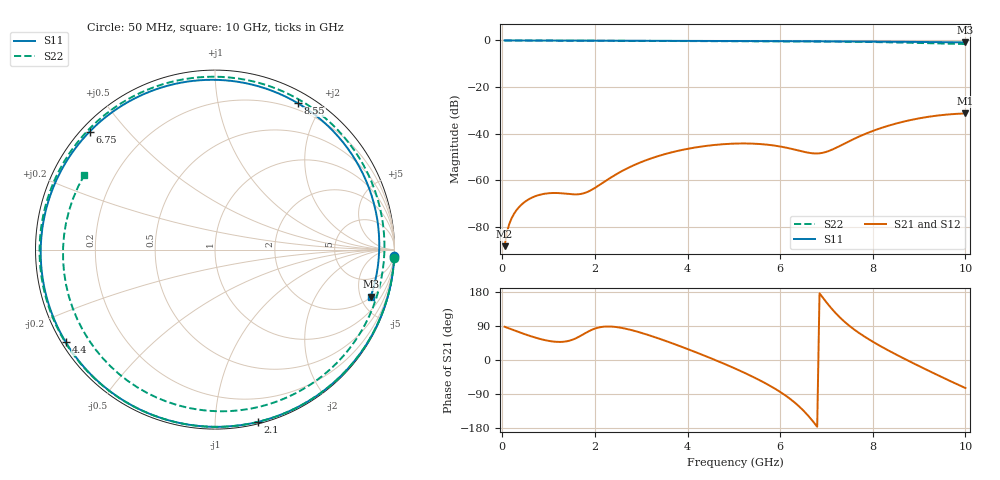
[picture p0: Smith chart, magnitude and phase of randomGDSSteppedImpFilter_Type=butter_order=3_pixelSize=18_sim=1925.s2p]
! freq	dB(S11)	phase(S11)	dB(S12)	phase(S12)
!  dB(S21)	phase(S21)	dB(S22)	phase(S22)
!S-par simulation data
#  GHz  S  DB  R 50
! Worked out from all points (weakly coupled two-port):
!   200 points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, 50 MHz to 10 GHz, reference 50 ohm
!   highest |S21| = -31.30 dB at 10 GHz (marker M1); lowest = -88.2 dB at 50 MHz (marker M2)
!   lowest |S11| = -0.9 dB at 10 GHz (marker M3), VSWR 20.41, Z = 103 - j304 ohm
!   |S11| at or under -10 dB: nowhere
!   |S22| runs from -1.5 to 0.0 dB; largest |S21 - S12| = 0
!   S11 on the Smith chart (normalised r, x): 50 MHz: 0, -60; 2.1 GHz: 0.01, -1.28; 4.4 GHz: 0.01, -0.29; 6.75 GHz: 0.02, +0.40; 8.55 GHz: 0.13, +1.71; 10 GHz: 2.07, -6.09
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0.05  -0.00 -1.9  -88.18 87.7  -88.18 87.7  -0.00 -2.8
0.35  -0.02 -13.2  -71.68 74.0  -71.68 74.0  -0.03 -19.5
0.65  -0.03 -24.5  -67.29 61.4  -67.29 61.4  -0.05 -35.9
1.2  -0.06 -44.7  -65.41 47.7  -65.41 47.7  -0.08 -65.0
1.75  -0.08 -64.2  -65.56 67.9  -65.56 67.9  -0.11 -92.3
2.1  -0.09 -76.1  -61.93 86.3  -61.93 86.3  -0.13 -108.8
2.75  -0.12 -97.5  -54.31 80.2  -54.31 80.2  -0.15 -137.8
3.4  -0.14 -117.9  -49.36 55.8  -49.36 55.8  -0.18 -165.6
4.4  -0.19 -148.2  -45.20 9.8  -45.20 9.8  -0.23 151.6
5.05  -0.23 -167.7  -44.20 -23.8  -44.20 -23.8  -0.28 122.2
5.9  -0.29 165.7  -45.13 -76.6  -45.13 -76.6  -0.34 80.0
6.7  -0.36 138.5  -48.37 -160.7  -48.37 -160.7  -0.42 35.4
6.75  -0.36 136.7  -48.43 -168.3  -48.43 -168.3  -0.42 32.5
7.15  -0.40 121.8  -46.56 130.2  -46.56 130.2  -0.48 8.4
7.55  -0.44 105.8  -42.62 84.9  -42.62 84.9  -0.55 -16.8
7.95  -0.49 88.6  -39.16 52.0  -39.16 52.0  -0.66 -43.1
8.35  -0.54 70.1  -36.47 24.3  -36.47 24.3  -0.80 -70.6
8.55  -0.56 60.4  -35.37 11.5  -35.37 11.5  -0.88 -85.0
8.95  -0.62 40.1  -33.58 -13.1  -33.58 -13.1  -1.08 -115.4
9.4  -0.71 16.1  -32.18 -39.8  -32.18 -39.8  -1.31 -153.1
9.7  -0.77 -0.3  -31.60 -57.2  -31.60 -57.2  -1.45 179.4
10  -0.85 -16.8  -31.30 -73.9  -31.30 -73.9  -1.53 150.4
